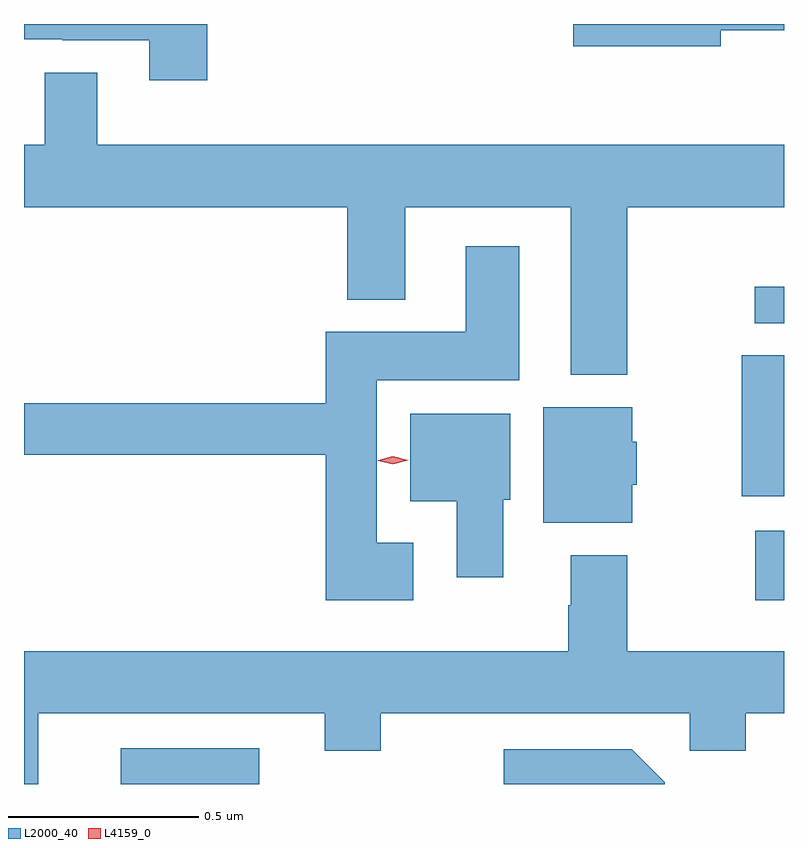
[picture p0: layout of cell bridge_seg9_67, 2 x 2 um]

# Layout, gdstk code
import gdstk
lib = gdstk.Library(unit=1e-6, precision=1e-09)
def R(c, l, rs):  # rectangles x0, y0, x1, y1
    for r in rs: c.add(gdstk.rectangle(r[:2], r[2:], *l))
def P(c, l, *ps):  # polygons
    for p in ps: c.add(gdstk.Polygon(p, *l))
L2000_40 = (2000, 40)
L4159_0 = (4159, 0)

bridge_seg9_67 = lib.new_cell('bridge_seg9_67')
R(bridge_seg9_67, L2000_40, [(1045.485,1189.574,1045.849,1189.668), (1047.154,1190.058,1047.23,1190.241), (1047.119,1190.331,1047.23,1190.702), (1047.153,1190.787,1047.23,1190.883)])
P(bridge_seg9_67, L2000_40, [(1045.712,1191.574),(1045.23,1191.574),(1045.23,1191.534),(1045.33,1191.534),(1045.33,1191.531),(1045.559,1191.531),(1045.559,1191.426),(1045.712,1191.426)],
  [(1047.064,1191.558),(1047.23,1191.558),(1047.23,1191.574),(1046.676,1191.574),(1046.676,1191.515),(1047.064,1191.515)],
  [(1045.423,1191.446),(1045.284,1191.446),(1045.284,1191.256),(1045.23,1191.256),(1045.23,1191.092),(1046.081,1191.092),(1046.081,1190.849),(1046.233,1190.849),(1046.233,1191.092),(1046.669,1191.092),(1046.669,1190.651),(1046.817,1190.651),(1046.817,1191.092),(1047.23,1191.092),(1047.23,1191.256),(1045.423,1191.256)],
  [(1046.254,1190.209),(1046.158,1190.209),(1046.158,1190.636),(1046.533,1190.636),(1046.533,1190.989),(1046.393,1190.989),(1046.393,1190.764),(1046.024,1190.764),(1046.024,1190.576),(1045.23,1190.576),(1045.23,1190.44),(1046.024,1190.44),(1046.024,1190.057),(1046.254,1190.057)],
  [(1046.83,1190.361),(1046.842,1190.361),(1046.842,1190.475),(1046.83,1190.475),(1046.83,1190.566),(1046.597,1190.566),(1046.597,1190.261),(1046.83,1190.261)],
  [(1046.491,1190.322),(1046.509,1190.322),(1046.509,1190.548),(1046.246,1190.548),(1046.246,1190.318),(1046.369,1190.318),(1046.369,1190.118),(1046.491,1190.118)],
  [(1045.267,1189.76),(1046.021,1189.76),(1046.021,1189.661),(1046.169,1189.661),(1046.169,1189.76),(1046.982,1189.76),(1046.982,1189.661),(1047.129,1189.661),(1047.129,1189.76),(1047.23,1189.76),(1047.23,1189.924),(1046.817,1189.924),(1046.817,1190.176),(1046.669,1190.176),(1046.669,1190.045),(1046.662,1190.045),(1046.662,1189.924),(1045.23,1189.924),(1045.23,1189.574),(1045.267,1189.574)],
  [(1046.916,1189.578),(1046.829,1189.665),(1046.493,1189.665),(1046.493,1189.574),(1046.916,1189.574)])
P(bridge_seg9_67, L4159_0, [(1046.201,1190.416),(1046.162,1190.425),(1046.161,1190.425),(1046.162,1190.426),(1046.201,1190.436),(1046.241,1190.426),(1046.241,1190.426),(1046.241,1190.426)])

lib.write_gds('bridge_seg9_67.gds')
